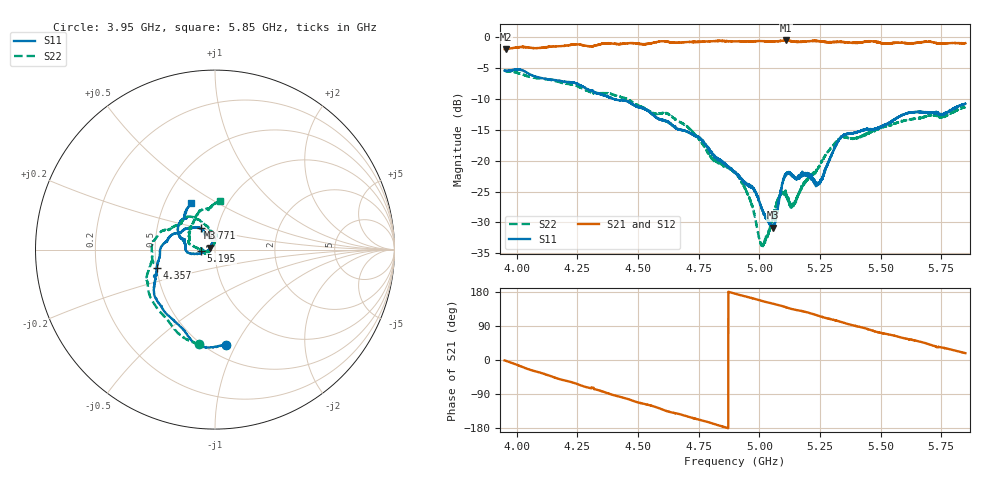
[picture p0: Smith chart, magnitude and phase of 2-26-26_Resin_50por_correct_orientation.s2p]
# GHZ S RI R 50.000000000000
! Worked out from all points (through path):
!   4501 points, 3.95 GHz to 5.85 GHz, reference 50 ohm
!   highest |S21| = -0.54 dB at 5.112 GHz (marker M1); lowest = -2.0 dB at 3.954 GHz (marker M2)
!   group delay of S21, straight-line fit = 494 ps
!   lowest |S11| = -30.8 dB at 5.057 GHz (marker M3), VSWR 1.06, Z = 47.4 + j0.99 ohm
!   |S11| at or under -10 dB: 4.397814 GHz to 4.39832 GHz (505.1 kHz wide, 0.0115 % of centre); 4.4 GHz to end of sweep
!   |S22| runs from -33.9 to -5.4 dB; largest |S21 - S12| = 0.074
!   S11 on the Smith chart (normalised r, x): 3.95 GHz: 0.61, -0.91; 4.357 GHz: 0.50, -0.12; 4.771 GHz: 0.83, +0.20; 5.195 GHz: 0.85, -0.01; 5.85 GHz: 0.68, +0.38
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3.95  0.0613 -0.5317  0.8003 -0.0171  0.7893 -0.036  -0.0895 -0.5268
3.9538  0.0524 -0.5303  0.7972 -0.0263  0.7877 -0.0431  -0.1028 -0.5203
4.034867  -0.1272 -0.5095  0.7742 -0.3013  0.781 -0.3099  -0.2369 -0.4297
4.267089  -0.3393 -0.2155  0.3288 -0.7986  0.3166 -0.8192  -0.3685 -0.1138
4.3566  -0.3246 -0.1019  0.0969 -0.8829  0.0763 -0.8766  -0.3522 0.000797
4.458778  -0.3004 0.0158  -0.2017 -0.8716  -0.2385 -0.8745  -0.2955 0.105
4.583756  -0.1977 0.0933  -0.5463 -0.7378  -0.5706 -0.7202  -0.1876 0.1495
4.7708  -0.078 0.1193  -0.8705 -0.304  -0.8796 -0.2743  -0.0389 0.1255
4.9  -0.0363 0.073  -0.9223 0.0808  -0.9239 0.1144  0.00746 0.0792
4.964178  -0.0209 0.0581  -0.8939 0.2503  -0.8775 0.2915  0.00124 0.0473
5.008933  -0.0139 0.0391  -0.8504 0.3739  -0.8327 0.4122  -0.0141 0.0152
5.056644  -0.0268 0.0104  -0.7874 0.4795  -0.7632 0.5193  -0.031 -0.0124
5.085778  -0.0516 -0.0104  -0.7521 0.5483  -0.7232 0.5888  -0.0475 -0.0203
5.111533  -0.0788 -0.00273  -0.7073 0.6192  -0.6802 0.6621  -0.0515 -0.00821
5.138133  -0.0754 0.00605  -0.6423 0.6654  -0.6034 0.7123  -0.0416 -0.0134
5.194711  -0.0785 -0.0063  -0.5447 0.7455  -0.4978 0.7769  -0.0686 -0.00981
5.217089  -0.0716 -0.00272  -0.4956 0.7877  -0.4566 0.808  -0.0766 0.00157
5.251711  -0.068 -0.015  -0.3907 0.8419  -0.3675 0.8551  -0.0943 0.00534
5.3446  -0.159 -0.00756  -0.1441 0.9022  -0.108 0.9101  -0.1471 0.0448
5.533756  -0.1908 0.0652  0.3413 0.8243  0.4011 0.7988  -0.1223 0.1494
5.707289  -0.176 0.1714  0.7025 0.5887  0.7492 0.5331  -0.072 0.2207
5.85  -0.1316 0.257  0.8486 0.2778  0.8694 0.2229  0.0256 0.2711
